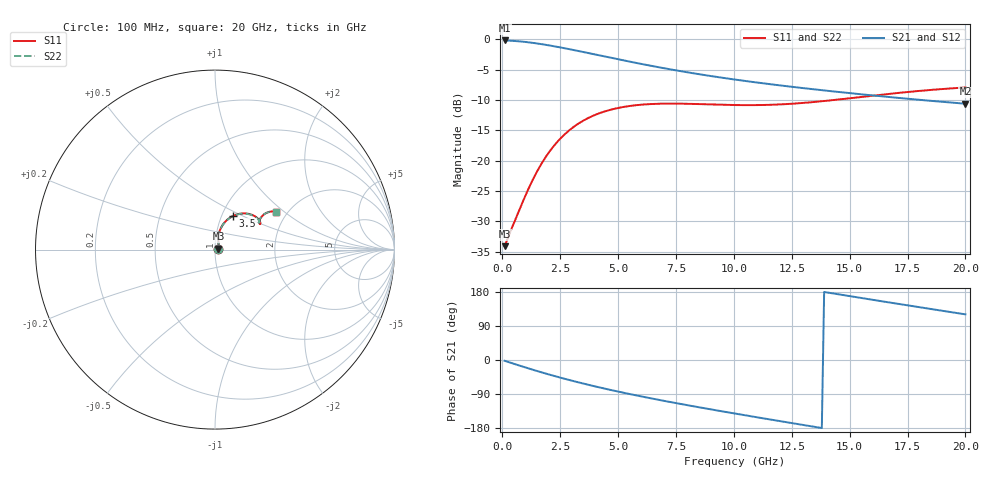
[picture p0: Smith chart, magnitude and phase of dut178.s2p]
! Touchstone file exported from HFSS 2024.1.0
!  File:  C:/UserFiles/LocalFiles/RDL_TSV_Batchsim/temp_RDL_TSV_178_1779438433.aedt
!  Generated:  04:41:00 PM May 22, 2026
!  Design:  RDL_TSV
!  Project:  temp_RDL_TSV_178_1779438433
!  Setup:  Setup1
!  Solution:  Sweep
! Variables:
!  dtsv = 9.76um
!  hbump = 3um
!  htsv = 69um
!  ldown = 495.17um
!  lrdl = 516.11um
!  p = 40
!  p1 = 50.35um
!  rhole = 10um
!  subl = 3549.95um
!  t = 450um
!  tdown = 3.77um
!  trdl = 3.83um
!  viad = 10um
!  wdown = 26.63um
!  wrdl = 14.38um
!  xbump = 18um
# GHz S MA R 50.000000
! Terminal data exported
! Port[1] = TM1_1_T1
! Port[2] = TM1_4_T1
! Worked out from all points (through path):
!   200 points, 100 MHz to 20 GHz, reference 50 ohm
!   highest |S21| = -0.17 dB at 100 MHz (marker M1); lowest = -10.6 dB at 20 GHz (marker M2)
!   group delay of S21, straight-line fit = 31.5 ps
!   lowest |S11| = -34.1 dB at 100 MHz (marker M3), VSWR 1.04, Z = 51.9 + j0.543 ohm
!   |S11| at or under -10 dB: start of sweep to 14.29 GHz
!   |S22| runs from -34.1 to -8.0 dB; largest |S21 - S12| = 1.2e-14
!   S11 on the Smith chart (normalised r, x): 100 MHz: 1.04, +0.01; 3.5 GHz: 1.13, +0.45; 20 GHz: 1.76, +0.88
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0.1  0.01977 15.3  0.9806 -2.1  0.9806 -2.1  0.01977 15.3
! Gamma 0 0 0 0
! Port Impedance 50 0 50 0
0.6  0.03406 54.6  0.9689 -12.0  0.9689 -12.0  0.03407 54.5
1.1  0.05705 71.3  0.9483 -21.6  0.9483 -21.6  0.057 71.2
1.5  0.08157 75.8  0.9265 -29.0  0.9265 -29.0  0.08142 75.6
1.8  0.1021 76.1  0.9078 -34.4  0.9078 -34.4  0.1019 75.9
2.2  0.1307 74.2  0.8809 -41.4  0.8809 -41.4  0.1303 74.0
2.6  0.1588 70.9  0.8526 -48.1  0.8526 -48.1  0.1582 70.7
3  0.1851 66.9  0.8237 -54.5  0.8237 -54.5  0.1844 66.7
3.5  0.2142 61.6  0.7876 -62.2  0.7876 -62.2  0.2133 61.4
4.2  0.2467 54.4  0.7386 -72.4  0.7386 -72.4  0.2456 54.3
5.1  0.2747 46.4  0.6802 -84.7  0.6802 -84.7  0.2732 46.2
5.9  0.2886 40.6  0.6337 -94.8  0.6337 -94.8  0.2869 40.4
6.8  0.2951 35.6  0.5876 -105.7  0.5876 -105.7  0.2933 35.4
7.6  0.2957 32.4  0.5518 -114.8  0.5518 -114.8  0.2938 32.3
8.4  0.2935 30.5  0.5204 -123.7  0.5204 -123.7  0.2915 30.4
10.1  0.2878 29.6  0.4654 -141.9  0.4654 -141.9  0.2857 29.6
11.7  0.2897 31.5  0.4245 -158.4  0.4245 -158.4  0.2877 31.5
13.4  0.3042 34.1  0.3891 -175.5  0.3891 -175.5  0.3023 34.2
15.1  0.3289 35.6  0.3593 167.6  0.3593 167.6  0.3271 35.7
16.7  0.3556 35.4  0.3352 152.0  0.3352 152.0  0.3539 35.4
18.3  0.3807 34.0  0.3143 136.6  0.3143 136.6  0.3788 34.0
20  0.4017 31.7  0.2952 120.5  0.2952 120.5  0.3997 31.7
